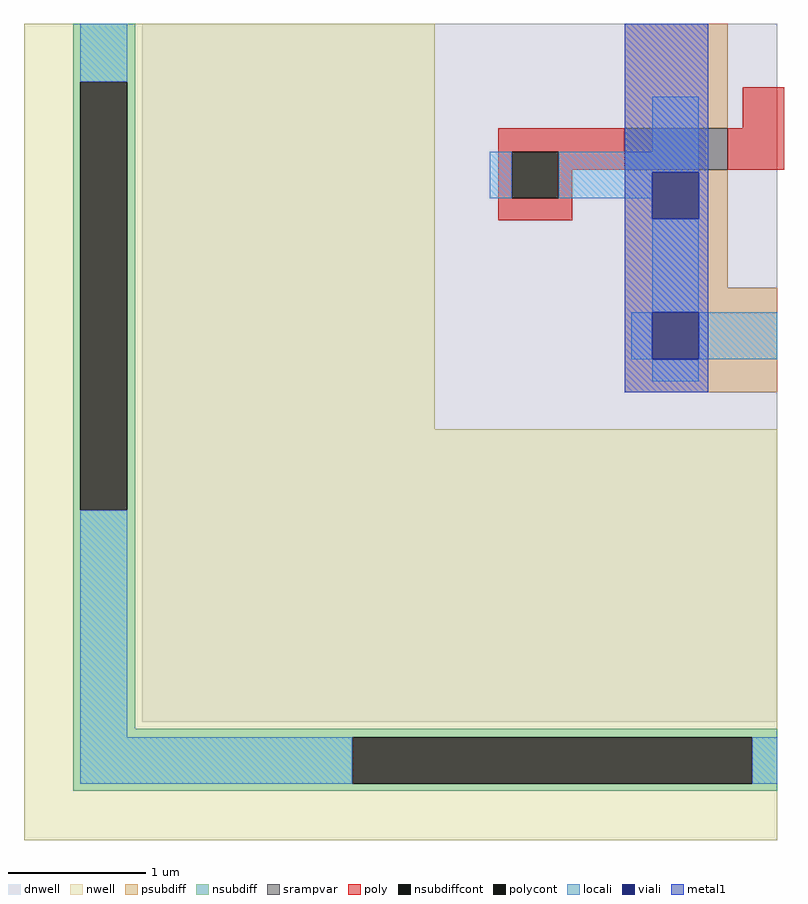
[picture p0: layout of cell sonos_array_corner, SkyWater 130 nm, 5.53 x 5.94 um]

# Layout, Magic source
magic
tech sky130A
<< dnwell >>
rect -462 -678 0 -170
<< nwell >>
rect -548 -465 -249 -170
rect -548 -764 0 -465
<< srampvar >>
rect -111 -276 -36 -246
<< psubdiff >>
rect -111 -246 -36 -170
rect -111 -362 -36 -276
rect -111 -438 0 -362
<< nsubdiff >>
rect -512 -212 -467 -170
rect -512 -524 -507 -212
rect -473 -524 -467 -212
rect -512 -683 -467 -524
rect -512 -689 0 -683
rect -512 -723 -309 -689
rect -18 -723 0 -689
rect -512 -728 0 -723
<< nsubdiffcont >>
rect -507 -524 -473 -212
rect -309 -723 -18 -689
<< poly >>
rect -25 -246 5 -216
rect -203 -263 -111 -246
rect -203 -297 -193 -263
rect -159 -276 -111 -263
rect -36 -276 5 -246
rect -159 -297 -149 -276
rect -203 -313 -149 -297
<< polycont >>
rect -193 -297 -159 -263
<< locali >>
rect -507 -212 -473 -170
rect -91 -263 -57 -223
rect -209 -297 -193 -263
rect -159 -278 -57 -263
rect -159 -297 -91 -278
rect -91 -380 -57 -312
rect -106 -414 -91 -380
rect -57 -414 0 -380
rect -91 -430 -57 -414
rect -507 -689 -473 -524
rect -507 -723 -309 -689
rect -18 -723 0 -689
<< viali >>
rect -91 -312 -57 -278
rect -91 -414 -57 -380
<< metal1 >>
rect -111 -278 -50 -170
rect -111 -312 -91 -278
rect -57 -312 -50 -278
rect -111 -380 -50 -312
rect -111 -414 -91 -380
rect -57 -414 -50 -380
rect -111 -438 -50 -414
<< end >>
